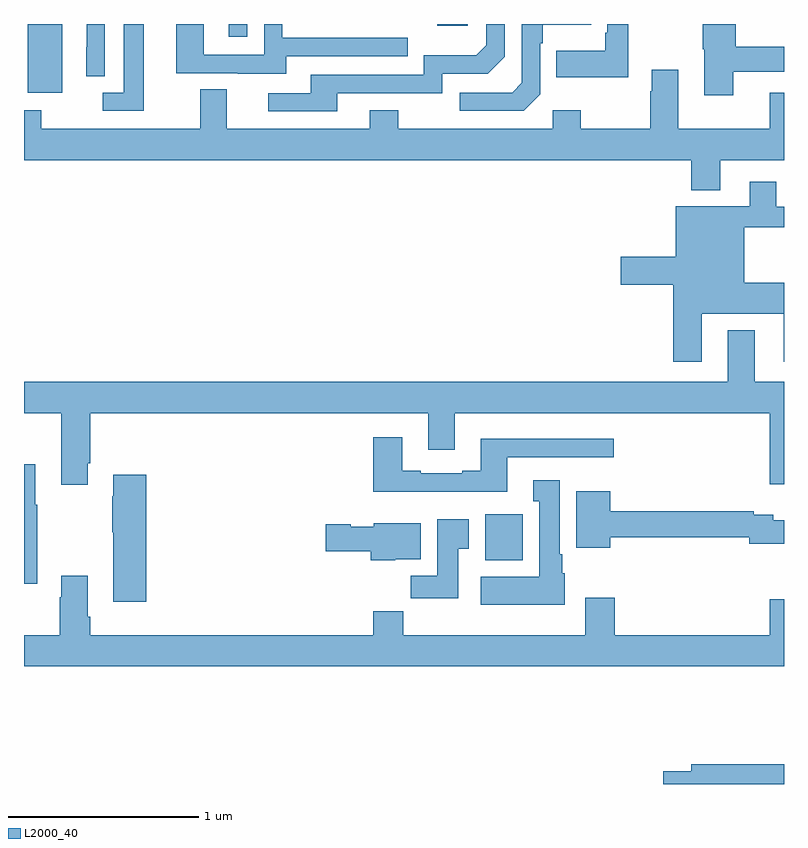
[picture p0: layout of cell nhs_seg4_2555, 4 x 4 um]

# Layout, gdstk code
import gdstk
lib = gdstk.Library(unit=1e-6, precision=1e-09)
def R(c, l, rs):  # rectangles x0, y0, x1, y1
    for r in rs: c.add(gdstk.rectangle(r[:2], r[2:], *l))
def P(c, l, *ps):  # polygons
    for p in ps: c.add(gdstk.Polygon(p, *l))
L2000_40 = (2000, 40)

nhs_seg4_2555 = lib.new_cell('nhs_seg4_2555')
R(nhs_seg4_2555, L2000_40, [(247.427,764.078,247.624,764.32), (245.021,766.538,245.2,766.899), (246.077,766.833,246.174,766.9), (247.175,766.892,247.336,766.9)])
P(nhs_seg4_2555, L2000_40, [(248.734,766.649),(249,766.649),(249,766.779),(248.747,766.779),(248.747,766.9),(248.572,766.9),(248.572,766.767),(248.579,766.767),(248.579,766.524),(248.734,766.524)],
  [(247.716,766.53),(247.716,766.799),(247.729,766.799),(247.729,766.895),(247.985,766.895),(247.985,766.9),(247.62,766.9),(247.62,766.59),(247.569,766.539),(247.293,766.539),(247.293,766.443),(247.629,766.443)],
  [(245.424,766.9),(245.33,766.9),(245.33,766.778),(245.328,766.778),(245.328,766.624),(245.424,766.624)],
  [(246.649,766.536),(247.2,766.536),(247.2,766.638),(247.44,766.638),(247.53,766.728),(247.53,766.9),(247.434,766.9),(247.434,766.788),(247.381,766.735),(247.104,766.735),(247.104,766.632),(246.509,766.632),(246.509,766.536),(246.285,766.536),(246.285,766.44),(246.649,766.44)],
  [(245.629,766.9),(245.525,766.9),(245.525,766.539),(245.415,766.539),(245.415,766.443),(245.629,766.443)],
  [(246.379,766.731),(247.019,766.731),(247.019,766.827),(246.36,766.827),(246.36,766.9),(246.264,766.9),(246.264,766.737),(245.946,766.737),(245.946,766.9),(245.801,766.9),(245.801,766.641),(246.125,766.641),(246.125,766.637),(246.379,766.637)],
  [(248.179,766.9),(248.07,766.9),(248.07,766.855),(248.058,766.855),(248.058,766.759),(247.801,766.759),(247.801,766.619),(248.179,766.619)],
  [(248.665,766.184),(249,766.184),(249,766.537),(248.924,766.537),(248.924,766.348),(248.443,766.348),(248.443,766.66),(248.303,766.66),(248.303,766.547),(248.296,766.547),(248.296,766.348),(247.929,766.348),(247.929,766.447),(247.782,766.447),(247.782,766.348),(246.969,766.348),(246.969,766.447),(246.821,766.447),(246.821,766.348),(246.067,766.348),(246.067,766.556),(245.927,766.556),(245.927,766.348),(245.091,766.348),(245.091,766.447),(245,766.447),(245,766.184),(248.513,766.184),(248.513,766.025),(248.665,766.025)],
  [(248.566,765.374),(248.999,765.374),(248.999,765.123),(249,765.123),(249,765.538),(248.791,765.538),(248.791,765.831),(249,765.831),(249,765.939),(248.959,765.939),(248.959,766.069),(248.819,766.069),(248.819,765.94),(248.429,765.94),(248.429,765.674),(248.142,765.674),(248.142,765.527),(248.417,765.527),(248.417,765.123),(248.566,765.123)],
  [(245.335,764.587),(245.348,764.587),(245.348,764.852),(247.127,764.852),(247.127,764.658),(247.267,764.658),(247.267,764.852),(248.924,764.852),(248.924,764.478),(249,764.478),(249,765.016),(248.845,765.016),(248.845,765.289),(248.705,765.289),(248.705,765.016),(245,765.016),(245,764.852),(245.195,764.852),(245.195,764.475),(245.335,764.475)],
  [(247.543,764.619),(248.104,764.619),(248.104,764.716),(247.403,764.716),(247.403,764.548),(247.307,764.548),(247.307,764.535),(247.087,764.535),(247.087,764.548),(246.991,764.548),(246.991,764.725),(246.839,764.725),(246.839,764.438),(247.543,764.438)],
  [(245.071,764.371),(245.059,764.371),(245.059,764.584),(245,764.584),(245,763.955),(245.071,763.955)],
  [(245.644,764.527),(245.471,764.527),(245.471,764.414),(245.464,764.414),(245.464,764.225),(245.471,764.225),(245.471,763.86),(245.644,763.86)],
  [(247.846,764.01),(247.834,764.01),(247.834,764.11),(247.819,764.11),(247.819,764.5),(247.679,764.5),(247.679,764.387),(247.712,764.387),(247.712,763.99),(247.403,763.99),(247.403,763.844),(247.846,763.844)],
  [(248.086,764.2),(248.816,764.2),(248.816,764.165),(249,764.165),(249,764.287),(248.944,764.287),(248.944,764.316),(248.84,764.316),(248.84,764.336),(248.086,764.336),(248.086,764.44),(247.907,764.44),(247.907,764.144),(248.086,764.144)],
  [(247.285,764.137),(247.342,764.137),(247.342,764.293),(247.175,764.293),(247.175,763.996),(247.036,763.996),(247.036,763.878),(247.285,763.878)],
  [(246.954,764.084),(247.087,764.084),(247.087,764.272),(246.84,764.272),(246.84,764.254),(246.72,764.254),(246.72,764.267),(246.588,764.267),(246.588,764.125),(246.824,764.125),(246.824,764.078),(246.954,764.078)],
  [(249,763.873),(248.924,763.873),(248.924,763.684),(248.108,763.684),(248.108,763.879),(247.955,763.879),(247.955,763.684),(246.995,763.684),(246.995,763.808),(246.839,763.808),(246.839,763.684),(245.348,763.684),(245.348,763.78),(245.335,763.78),(245.335,763.996),(245.195,763.996),(245.195,763.883),(245.188,763.883),(245.188,763.684),(245,763.684),(245,763.52),(249,763.52)],
  [(249,763.004),(248.513,763.004),(248.513,762.968),(248.364,762.968),(248.364,762.9),(249,762.9)])

lib.write_gds('nhs_seg4_2555.gds')
